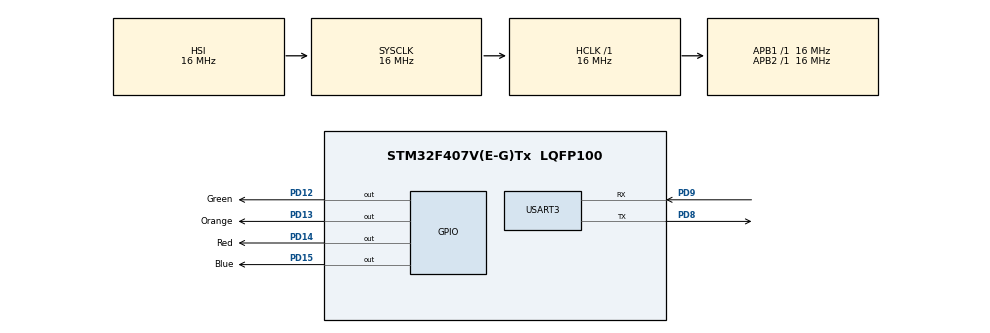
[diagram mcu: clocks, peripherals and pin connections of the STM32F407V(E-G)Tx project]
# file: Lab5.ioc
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Mcu.Family=STM32F4
Mcu.Name=STM32F407V(E-G)Tx
Mcu.Package=LQFP100
NVIC.PriorityGroup=NVIC_PRIORITYGROUP_4
PD12.GPIO_Label=Green
PD12.Signal=GPIO_Output
PD13.GPIO_Label=Orange
PD13.Signal=GPIO_Output
PD14.GPIO_Label=Red
PD14.Signal=GPIO_Output
PD15.GPIO_Label=Blue
PD15.Signal=GPIO_Output
PD8.Mode=Asynchronous
PD8.Signal=USART3_TX
PD9.Mode=Asynchronous
PD9.Signal=USART3_RX
ProjectManager.HeapSize=0x200
ProjectManager.StackSize=0x400
ProjectManager.TargetToolchain=STM32CubeIDE
RCC.AHBFreq_Value=16000000
RCC.APB1Freq_Value=16000000
RCC.APB2Freq_Value=16000000
RCC.CortexFreq_Value=16000000
RCC.HSE_VALUE=25000000
RCC.HSI_VALUE=16000000
RCC.LSE_VALUE=32768
RCC.SYSCLKFreq_VALUE=16000000
RCC.VCOOutputFreq_Value=192000000
USART3.VirtualMode=VM_ASYNC
board=custom

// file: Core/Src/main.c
/* USER CODE BEGIN Header */
/**
  ******************************************************************************
  * @file           : main.c
  * @brief          : Main program body
  ******************************************************************************
  * @attention
  *
  * Copyright (c) 2026 STMicroelectronics.
  * All rights reserved.
  *
  * This software is licensed under terms that can be found in the LICENSE file
  * in the root directory of this software component.
  * If no LICENSE file comes with this software, it is provided AS-IS.
  *
  ******************************************************************************
  */
/* USER CODE END Header */
#include "main.h"

UART_HandleTypeDef huart3;

void SystemClock_Config(void);
static void MX_GPIO_Init(void);
static void MX_USART3_UART_Init(void);

int main(void)
{

  /* MCU Configuration--------------------------------------------------------*/

  /* Reset of all peripherals, Initializes the Flash interface and the Systick. */
  HAL_Init();

  /* Configure the system clock */
  SystemClock_Config();

  /* Initialize all configured peripherals */
  MX_GPIO_Init();
  MX_USART3_UART_Init();

  /* Infinite loop */
  /* USER CODE BEGIN WHILE */
  while (1)
  {
	  uint8_t rcvBuf[1];
      HAL_StatusTypeDef result;
      result = HAL_UART_Receive(&huart3, rcvBuf, 1, 10);
      if (result == HAL_OK)
      {
    	  switch (rcvBuf[0])
          {
          	  case 'g':
          		  HAL_GPIO_TogglePin(GPIOD, Green_Pin);
                  HAL_UART_Transmit(&huart3, (uint8_t *)" - Green ON/OFF\r\n", 17, 100);
                  break;
              case 'o':
            	  HAL_GPIO_TogglePin(GPIOD, Orange_Pin);
                  HAL_UART_Transmit(&huart3, (uint8_t *)" - Orange ON/OFF\r\n", 18, 100);
                  break;
              case 'r':
            	  HAL_GPIO_TogglePin(GPIOD, Red_Pin);
                  HAL_UART_Transmit(&huart3, (uint8_t *)" - Red ON/OFF\r\n", 15, 100);
                  break;
              case 'b':
            	  HAL_GPIO_TogglePin(GPIOD, Blue_Pin);
                  HAL_UART_Transmit(&huart3, (uint8_t *)" - Blue ON/OFF\r\n", 16, 100);
                  break;
              case 'a':
            	  HAL_GPIO_WritePin(GPIOD, GPIO_PIN_All, GPIO_PIN_SET);
                  HAL_UART_Transmit(&huart3, (uint8_t *)" - All ON\r\n", 11, 100);
                  break;
              case 'n':
            	  HAL_GPIO_WritePin(GPIOD, GPIO_PIN_All, GPIO_PIN_RESET);
                  HAL_UART_Transmit(&huart3, (uint8_t *)" - All OFF\r\n", 12, 100);
                  break;
              default:
                  HAL_UART_Transmit(&huart3, (uint8_t *)" - UnexpCmd\r\n", 13, 100);
                  break;
          }
       }
    /* USER CODE END WHILE */

  }
}

void SystemClock_Config(void)
{
  RCC_OscInitTypeDef RCC_OscInitStruct = {0};
  RCC_ClkInitTypeDef RCC_ClkInitStruct = {0};

  /** Configure the main internal regulator output voltage
  */
  __HAL_RCC_PWR_CLK_ENABLE();
  __HAL_PWR_VOLTAGESCALING_CONFIG(PWR_REGULATOR_VOLTAGE_SCALE1);

  /** Initializes the RCC Oscillators according to the specified parameters
  * in the RCC_OscInitTypeDef structure.
  */
  RCC_OscInitStruct.OscillatorType = RCC_OSCILLATORTYPE_HSI;
  RCC_OscInitStruct.HSIState = RCC_HSI_ON;
  RCC_OscInitStruct.HSICalibrationValue = RCC_HSICALIBRATION_DEFAULT;
  RCC_OscInitStruct.PLL.PLLState = RCC_PLL_NONE;
  if (HAL_RCC_OscConfig(&RCC_OscInitStruct) != HAL_OK)
  {
    Error_Handler();
  }

  /** Initializes the CPU, AHB and APB buses clocks
  */
  RCC_ClkInitStruct.ClockType = RCC_CLOCKTYPE_HCLK|RCC_CLOCKTYPE_SYSCLK
                              |RCC_CLOCKTYPE_PCLK1|RCC_CLOCKTYPE_PCLK2;
  RCC_ClkInitStruct.SYSCLKSource = RCC_SYSCLKSOURCE_HSI;
  RCC_ClkInitStruct.AHBCLKDivider = RCC_SYSCLK_DIV1;
  RCC_ClkInitStruct.APB1CLKDivider = RCC_HCLK_DIV1;
  RCC_ClkInitStruct.APB2CLKDivider = RCC_HCLK_DIV1;

  if (HAL_RCC_ClockConfig(&RCC_ClkInitStruct, FLASH_LATENCY_0) != HAL_OK)
  {
    Error_Handler();
  }
}

static void MX_USART3_UART_Init(void)
{

  huart3.Instance = USART3;
  huart3.Init.BaudRate = 115200;
  huart3.Init.WordLength = UART_WORDLENGTH_8B;
  huart3.Init.StopBits = UART_STOPBITS_1;
  huart3.Init.Parity = UART_PARITY_NONE;
  huart3.Init.Mode = UART_MODE_TX_RX;
  huart3.Init.HwFlowCtl = UART_HWCONTROL_NONE;
  huart3.Init.OverSampling = UART_OVERSAMPLING_16;
  if (HAL_UART_Init(&huart3) != HAL_OK)
  {
    Error_Handler();
  }

}

static void MX_GPIO_Init(void)
{
  GPIO_InitTypeDef GPIO_InitStruct = {0};

  /* GPIO Ports Clock Enable */
  __HAL_RCC_GPIOD_CLK_ENABLE();

  /*Configure GPIO pin Output Level */
  HAL_GPIO_WritePin(GPIOD, Green_Pin|Orange_Pin|Red_Pin|Blue_Pin, GPIO_PIN_RESET);

  /*Configure GPIO pins : Green_Pin Orange_Pin Red_Pin Blue_Pin */
  GPIO_InitStruct.Pin = Green_Pin|Orange_Pin|Red_Pin|Blue_Pin;
  GPIO_InitStruct.Mode = GPIO_MODE_OUTPUT_PP;
  GPIO_InitStruct.Pull = GPIO_NOPULL;
  GPIO_InitStruct.Speed = GPIO_SPEED_FREQ_LOW;
  HAL_GPIO_Init(GPIOD, &GPIO_InitStruct);

}

void Error_Handler(void)
{
  __disable_irq();
  while (1)
  {
  }
}
